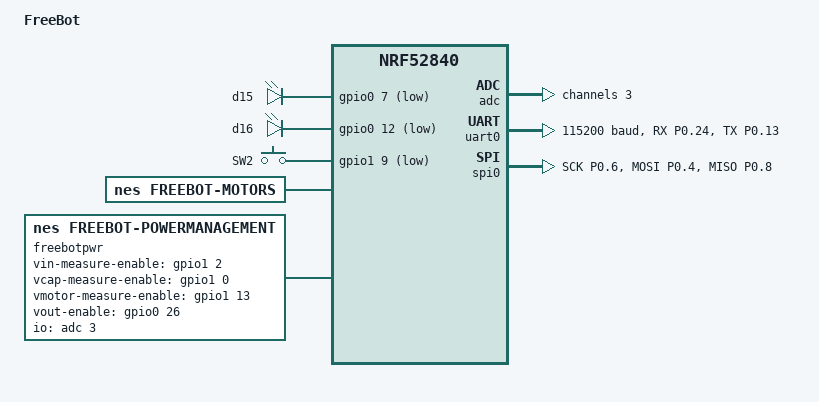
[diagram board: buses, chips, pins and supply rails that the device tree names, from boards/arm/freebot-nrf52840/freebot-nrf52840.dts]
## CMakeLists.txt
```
#
# Copyright (c) 2018 Nordic Semiconductor
#
# SPDX-License-Identifier: LicenseRef-Nordic-5-Clause
#
cmake_minimum_required(VERSION 3.20.0)

find_package(Zephyr REQUIRED HINTS $ENV{ZEPHYR_BASE})
project(nus_peripheral)

include_directories(lib/freebot/inc)
include_directories(lib/cJSON/)

if(DEFINED FB_DUMMY_API)
    target_sources(app PRIVATE lib/freebot/src/fb_dummy.c)
else()
    target_sources(app PRIVATE lib/freebot/src/fb_motor.c lib/freebot/src/fb_io.c lib/freebot/src/fb_pwr.c)
endif()

target_sources(app PRIVATE lib/cJSON/cJSON.c)

# NORDIC SDK APP START
target_sources(app PRIVATE
  src/main.c
)

# Include UART ASYNC API adapter
target_sources_ifdef(CONFIG_BT_NUS_UART_ASYNC_ADAPTER app PRIVATE
  src/uart_async_adapter.c
)

# NORDIC SDK APP END

zephyr_library_include_directories(.)
```

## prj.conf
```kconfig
#
# Copyright (c) 2018 Nordic Semiconductor
#
# SPDX-License-Identifier: LicenseRef-Nordic-5-Clause
#

# Enable the UART driver
CONFIG_UART_ASYNC_API=y
CONFIG_NRFX_UARTE0=y
CONFIG_SERIAL=y

CONFIG_GPIO=y



# Enable ADC for voltage measurements
CONFIG_ADC=y

# Enable logging
CONFIG_LOG=y



CONFIG_CONSOLE=y 
CONFIG_CONSOLE_SUBSYS=y 
CONFIG_CONSOLE_HANDLER=y 
CONFIG_CONSOLE_GETCHAR=y 




CONFIG_HEAP_MEM_POOL_SIZE=2048

CONFIG_BT=y
CONFIG_BT_PERIPHERAL=y
CONFIG_BT_DEVICE_NAME="Groep 5 Freebot"
CONFIG_BT_MAX_CONN=1
CONFIG_BT_MAX_PAIRED=1

# Enable the NUS service
CONFIG_BT_NUS=y
CONFIG_BT_NUS_SECURITY_ENABLED=y

# Enable bonding
CONFIG_BT_SETTINGS=y
CONFIG_FLASH=y
CONFIG_FLASH_PAGE_LAYOUT=y
CONFIG_FLASH_MAP=y
CONFIG_NVS=y
CONFIG_SETTINGS=y

# Enable DK LED and Buttons library
CONFIG_DK_LIBRARY=y

# This example requires more stack
CONFIG_MAIN_STACK_SIZE=1192
CONFIG_SYSTEM_WORKQUEUE_STACK_SIZE=2048


# Config logger
CONFIG_LOG=y
CONFIG_USE_SEGGER_RTT=y
CONFIG_LOG_BACKEND_RTT=y
CONFIG_LOG_BACKEND_UART=n
CONFIG_LOG_PRINTK=n

CONFIG_ASSERT=y
```

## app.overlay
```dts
/*
 * Copyright (c) 2022 Nordic Semiconductor ASA
 *
 * SPDX-License-Identifier: LicenseRef-Nordic-5-Clause
 */

/ {
	chosen {
		nordic,nus-uart = &uart0;
	};
};

/ {
    chosen {
        zephyr,entropy = &cryptocell;
    };
};

&cryptocell {
    status = "okay";
};
```

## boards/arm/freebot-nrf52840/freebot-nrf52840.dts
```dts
// Copyright (c) 2024 Nordic Semiconductor ASA
// SPDX-License-Identifier: Apache-2.0

/dts-v1/;
#include <nordic/nrf52840_qiaa.dtsi>

/ {
    model = "FreeBot";
    compatible = "nes,freebot-nrf52840";

    chosen {
        zephyr,console = &uart0;
        zephyr,shell-uart = &uart0;
        zephyr,sram = &sram0;
        zephyr,flash = &flash0;
        zephyr,code-partition = &slot0_partition;
        /delete-property/ zephyr,entropy;
    };

    leds {
        compatible = "gpio-leds";
        d15: led_0 {
            gpios = <&gpio0 7 GPIO_ACTIVE_LOW>;
        };
        d16: led_1 {
            gpios = <&gpio0 12 GPIO_ACTIVE_LOW>;
        };
    };

    buttons {
        compatible = "gpio-keys";
        sw2: button_0 {
            gpios = <&gpio1 9 GPIO_ACTIVE_LOW>;
            label = "SW2";
            zephyr,code = <INPUT_KEY_0>;
        };
    };

    motors {
        compatible = "nes,freebot-motors";
        m1: motor1 {
            in-a-gpios = <&gpio0 9 GPIO_ACTIVE_HIGH>;
            in-b-gpios = <&gpio0 10 GPIO_ACTIVE_HIGH>;
            hall-c1-gpios = <&gpio1 4 0>;
            hall-c2-gpios = <&gpio1 6 0>;
        };
        m2: motor2 {
            in-a-gpios = <&gpio0 15 GPIO_ACTIVE_HIGH>;
            in-b-gpios = <&gpio0 17 GPIO_ACTIVE_HIGH>;
            hall-c1-gpios = <&gpio0 20 0>;
            hall-c2-gpios = <&gpio0 22 0>;
        };
        m3: motor3 {
            in-a-gpios = <&gpio1 10 GPIO_ACTIVE_HIGH>;
            in-b-gpios = <&gpio1 11 GPIO_ACTIVE_HIGH>;
            hall-c1-gpios = <&gpio0 2 0>;
            hall-c2-gpios = <&gpio0 3 0>;
        };
        m4: motor4 {
            in-a-gpios = <&gpio0 30 GPIO_ACTIVE_HIGH>;
            in-b-gpios = <&gpio0 31 GPIO_ACTIVE_HIGH>;
            hall-c1-gpios = <&gpio0 28 0>;
            hall-c2-gpios = <&gpio0 29 0>;
        };
    };

    freebotpwr {
        compatible = "nes,freebot-powermanagement";
        io-channels = <&adc 3>;
        vin-measure-enable-gpios = <&gpio1 2 GPIO_ACTIVE_HIGH>;
        vcap-measure-enable-gpios = <&gpio1 0 GPIO_ACTIVE_HIGH>;
        vmotor-measure-enable-gpios = <&gpio1 13 GPIO_ACTIVE_HIGH>;
        vout-enable-gpios = <&gpio0 26 GPIO_ACTIVE_HIGH>;
    };
};

&uicr {
    nfct-pins-as-gpios;
};

&gpiote {
    status = "okay";
};

&gpio0 {
    status = "okay";
};

&gpio1 {
    status = "okay";
};

&adc {
    #address-cells = <1>;
    #size-cells = <0>;
    status = "okay";

    channel@3 {
        reg = <3>;
        zephyr,gain = "ADC_GAIN_4"; /* nRF52840 DOCS: ΔVmeasure = Vref / GAIN */
        zephyr,reference = "ADC_REF_INTERNAL"; /* nRF52840 DOCS: Internal Vref = 600mV */
        zephyr,acquisition-time = <ADC_ACQ_TIME(ADC_ACQ_TIME_MICROSECONDS, 40)>; /* nRF52840 DOCS: input R > 400k => 40ms */
        zephyr,input-positive = <NRF_SAADC_AIN3>; /* P0.05 */
        zephyr,resolution = <14>;
    };

};

&uart0 {
    compatible = "nordic,nrf-uarte";
    status = "okay";
    current-speed = <115200>;
    pinctrl-0 = <&uart0_default>;
    pinctrl-1 = <&uart0_sleep>;
    pinctrl-names = "default", "sleep";
};

&spi0 {
    compatible = "nordic,nrf-spi";
    status = "okay";
    pinctrl-0 = <&spi0_default>;
    pinctrl-1 = <&spi0_sleep>;
    pinctrl-names = "default", "sleep";
};

&flash0 {
    partitions {
        compatible = "fixed-partitions";
        #address-cells = <1>;
        #size-cells = <1>;

        boot_partition: partition@0 {
            label = "mcuboot";
            reg = <0x0 0xc000>;
        };
        slot0_partition: partition@c000 {
            label = "image-0";
            reg = <0xc000 0x72000>;
        };
        slot1_partition: partition@7e000 {
            label = "image-1";
            reg = <0x7e000 0x72000>;
        };
        scratch_partition: partition@f0000 {
            label = "image-scratch";
            reg = <0xf0000 0xa000>;
        };
        storage_partition: partition@fa000 {
            label = "storage";
            reg = <0xfa000 0x6000>;
        };
    };
};

&pinctrl {
    uart0_default: uart0_default {
        group1 {
            psels = <NRF_PSEL(UART_RX, 0, 24)>;
            bias-pull-up;
        };
        group2 {
            psels = <NRF_PSEL(UART_TX, 0, 13)>;
        };
    };
    uart0_sleep: uart0_sleep {
        group1 {
            psels = <NRF_PSEL(UART_RX, 0, 24)>,
                    <NRF_PSEL(UART_TX, 0, 13)>;
            low-power-enable;
        };
    };

    spi0_default: spi0_default {
        group1 {
            psels = <NRF_PSEL(SPIM_SCK, 0, 6)>,
                    <NRF_PSEL(SPIM_MOSI, 0, 4)>,
                    <NRF_PSEL(SPIM_MISO, 0, 8)>;
        };
    };
    spi0_sleep: spi0_sleep {
        group1 {
            psels = <NRF_PSEL(SPIM_SCK, 0, 6)>,
                    <NRF_PSEL(SPIM_MOSI, 0, 4)>,
                    <NRF_PSEL(SPIM_MISO, 0, 8)>;
            low-power-enable;
        };
    };
};

&nfct {
	status = "disabled";
};

&power {
	status = "disabled";
};

&temp {
	status = "disabled";
};

&cryptocell {
	status = "disabled";
};

&ecb {
	status = "disabled";
};

&ccm {
	status = "disabled";
};

&acl {
	status = "disabled";
};

&nvic {
	status = "disabled";
};
```

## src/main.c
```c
/*
 * Copyright (c) 2018 Nordic Semiconductor ASA
 *
 * SPDX-License-Identifier: LicenseRef-Nordic-5-Clause
 */

/** @file
 *  @brief Nordic UART Bridge Service (NUS) sample
 */
#include <zephyr/types.h>
#include <zephyr/kernel.h>
#include <zephyr/drivers/uart.h>
#include <zephyr/usb/usb_device.h>

#include <zephyr/device.h>
#include <zephyr/devicetree.h>
#include <soc.h>

#include <zephyr/bluetooth/bluetooth.h>
#include <zephyr/bluetooth/uuid.h>
#include <zephyr/bluetooth/gatt.h>
#include <zephyr/bluetooth/hci.h>

#include <bluetooth/services/nus.h>

#include <dk_buttons_and_leds.h>

#include <zephyr/settings/settings.h>

#include <stdio.h>
#include <stdlib.h>
#include <string.h>
#include "cJSON.h"

#include <zephyr/logging/log.h>

#include "freebot.h"

#define LOG_MODULE_NAME peripheral_uart
LOG_MODULE_REGISTER(LOG_MODULE_NAME);

#define STACKSIZE CONFIG_BT_NUS_THREAD_STACK_SIZE
#define PRIORITY 7

#define DEVICE_NAME CONFIG_BT_DEVICE_NAME
#define DEVICE_NAME_LEN	(sizeof(DEVICE_NAME) - 1)

#define RUN_STATUS_LED DK_LED1
#define RUN_LED_BLINK_INTERVAL 1000

#define CON_STATUS_LED DK_LED2

#define KEY_PASSKEY_ACCEPT DK_BTN1_MSK
#define KEY_PASSKEY_REJECT DK_BTN2_MSK

#define MSG_LENGTH_ACTION 2 //AA-BB with AA the group's number & BB being the action
#define MSG_LENGTH_SENSING 6 //AA-AA-BB-BB-CC-CC with AA the group's number, BB being the voltage in mV & CC the RPM

static K_SEM_DEFINE(ble_init_ok, 0, 1);

static fb_motor_angle_t motor_angles;
static fb_motor_speed_t motor_speeds;


static K_SEM_DEFINE(freebot_init_ok, 0, 1);

static struct bt_conn *current_conn;
static struct bt_conn *auth_conn;

static const struct bt_data ad[] = {
	BT_DATA_BYTES(BT_DATA_FLAGS, (BT_LE_AD_GENERAL | BT_LE_AD_NO_BREDR)),
	BT_DATA(BT_DATA_NAME_COMPLETE, DEVICE_NAME, DEVICE_NAME_LEN),
};

static const struct bt_data sd[] = {
	BT_DATA_BYTES(BT_DATA_UUID128_ALL, BT_UUID_NUS_VAL),
};

static void connected(struct bt_conn *conn, uint8_t err)
{
	char addr[BT_ADDR_LE_STR_LEN];

	if (err) {
		printk("Connection failed (err %u)", err);
		return;
	}

	bt_addr_le_to_str(bt_conn_get_dst(conn), addr, sizeof(addr));
	printk("Connected %s", addr);

	bt_addr_le_t central_addr;
	// addr other board: F6:5E:C0:22:C7:AC
	bt_addr_le_from_str("E9:7C:B1:DD:09:C0","random", &central_addr);
	if (!bt_addr_le_eq(bt_conn_get_dst(conn), &central_addr)) {
		printk("wrong device tried to connect: %s", addr);
		bt_conn_disconnect(conn, BT_ATT_ERR_AUTHENTICATION);
		return;
	}

	printk("Connected %s", addr);

	current_conn = bt_conn_ref(conn);

	dk_set_led_on(CON_STATUS_LED);
}

static void disconnected(struct bt_conn *conn, uint8_t reason)
{
	char addr[BT_ADDR_LE_STR_LEN];

	bt_addr_le_to_str(bt_conn_get_dst(conn), addr, sizeof(addr));

	printk("Disconnected: %s (reason %u)", addr, reason);

	if (auth_conn) {
		bt_conn_unref(auth_conn);
		auth_conn = NULL;
	}

	if (current_conn) {
		bt_conn_unref(current_conn);
		current_conn = NULL;
		dk_set_led_off(CON_STATUS_LED);
	}
}

#ifdef CONFIG_BT_NUS_SECURITY_ENABLED
static void security_changed(struct bt_conn *conn, bt_security_t level,
			     enum bt_security_err err)
{
	char addr[BT_ADDR_LE_STR_LEN];

	bt_addr_le_to_str(bt_conn_get_dst(conn), addr, sizeof(addr));

	if (!err) {
		printk("Security changed: %s level %u", addr, level);
	} else {
		LOG_WRN("Security failed: %s level %u err %d", addr,
			level, err);
	}
}
#endif

BT_CONN_CB_DEFINE(conn_callbacks) = {
	.connected    = connected,
	.disconnected = disconnected,
#ifdef CONFIG_BT_NUS_SECURITY_ENABLED
	.security_changed = security_changed,
#endif
};

#if defined(CONFIG_BT_NUS_SECURITY_ENABLED)
static void auth_passkey_display(struct bt_conn *conn, unsigned int passkey)
{
	char addr[BT_ADDR_LE_STR_LEN];

	bt_addr_le_to_str(bt_conn_get_dst(conn), addr, sizeof(addr));

	printk("Passkey for %s: %06u", addr, passkey);
}

static void auth_passkey_confirm(struct bt_conn *conn, unsigned int passkey)
{
	char addr[BT_ADDR_LE_STR_LEN];

	auth_conn = bt_conn_ref(conn);

	bt_addr_le_to_str(bt_conn_get_dst(conn), addr, sizeof(addr));

	printk("Passkey for %s: %06u", addr, passkey);
	printk("Press Button 1 to confirm, Button 2 to reject.");
}


static void auth_cancel(struct bt_conn *conn)
{
	char addr[BT_ADDR_LE_STR_LEN];

	bt_addr_le_to_str(bt_conn_get_dst(conn), addr, sizeof(addr));

	printk("Pairing cancelled: %s", addr);
}


static void pairing_complete(struct bt_conn *conn, bool bonded)
{
	char addr[BT_ADDR_LE_STR_LEN];

	bt_addr_le_to_str(bt_conn_get_dst(conn), addr, sizeof(addr));

	printk("Pairing completed: %s, bonded: %d", addr, bonded);
}


static void pairing_failed(struct bt_conn *conn, enum bt_security_err reason)
{
	char addr[BT_ADDR_LE_STR_LEN];

	bt_addr_le_to_str(bt_conn_get_dst(conn), addr, sizeof(addr));

	printk("Pairing failed conn: %s, reason %d", addr, reason);
}


static struct bt_conn_auth_cb conn_auth_callbacks = {
	.passkey_display = auth_passkey_display,
	.passkey_confirm = auth_passkey_confirm,
	.cancel = auth_cancel,
};

static struct bt_conn_auth_info_cb conn_auth_info_callbacks = {
	.pairing_complete = pairing_complete,
	.pairing_failed = pairing_failed
};
#else
static struct bt_conn_auth_cb conn_auth_callbacks;
static struct bt_conn_auth_info_cb conn_auth_info_callbacks;
#endif

static void bt_receive_cb(struct bt_conn *conn, const uint8_t *const data,
			  uint16_t len)
{
	int err;
	char addr[BT_ADDR_LE_STR_LEN] = {0};

	bt_addr_le_to_str(bt_conn_get_dst(conn), addr, ARRAY_SIZE(addr));

	printk("Received data from: %s", addr);
    if (len >= MSG_LENGTH_ACTION) {
        uint8_t groupnr = data[0];
		if (groupnr == 5) {
        	uint8_t action  = data[1];
       		printk("MESSAGE: Group: %d, Action: %d\n", groupnr, action);
        	app_move_cb(action);
		}
    }
}

static struct bt_nus_cb nus_cb = {
	.received = bt_receive_cb,
};

void error(void)
{
	dk_set_leds_state(DK_ALL_LEDS_MSK, DK_NO_LEDS_MSK);

	while (true) {
		/* Spin for ever */
		k_sleep(K_MSEC(1000));
	}
}

#ifdef CONFIG_BT_NUS_SECURITY_ENABLED
static void num_comp_reply(bool accept)
{
	if (accept) {
		bt_conn_auth_passkey_confirm(auth_conn);
		printk("Numeric Match, conn %p", (void *)auth_conn);
	} else {
		bt_conn_auth_cancel(auth_conn);
		printk("Numeric Reject, conn %p", (void *)auth_conn);
	}

	bt_conn_unref(auth_conn);
	auth_conn = NULL;
}

void button_changed(uint32_t button_state, uint32_t has_changed)
{
	uint32_t buttons = button_state & has_changed;

	if (auth_conn) {
		if (buttons & KEY_PASSKEY_ACCEPT) {
			num_comp_reply(true);
		}

		if (buttons & KEY_PASSKEY_REJECT) {
			num_comp_reply(false);
		}
	}
}
#endif /* CONFIG_BT_NUS_SECURITY_ENABLED */

static void configure_gpio(void)
{
	int err;

#ifdef CONFIG_BT_NUS_SECURITY_ENABLED
	err = dk_buttons_init(button_changed);
	if (err) {
		printk("Cannot init buttons (err: %d)", err);
	}
#endif /* CONFIG_BT_NUS_SECURITY_ENABLED */

	err = dk_leds_init();
	if (err) {
		printk("Cannot init LEDs (err: %d)", err);
	}
}

static int read_rpm() {
    //avg of all weels in one time instance
    fb_get_motor_speed(&motor_speeds);

	int rpm = abs(motor_speeds.front_left) 
                + abs(motor_speeds.front_right) 
                    + abs(motor_speeds.back_right)
                        + abs(motor_speeds.back_left);
	return rpm/4;
}


// function to set the next move of the freebot
void app_move_cb(uint8_t action) {
    switch(action){
        case 0:  fb_straight_forw(); 	break;
        case 1:  fb_straight_back(); 	break;
        case 2:  fb_side_right();    	break;
        case 3:  fb_side_left();     	break;
        case 4:  fb_side_d45();  		break;
        case 5:  fb_side_d135();		break;
        case 6:  fb_side_d225();		break;
        case 7:  fb_side_d315();		break;
        case 8:  fb_rotate_cw();		break;
        case 9:  fb_rotate_ccw();		break;
        case 10: fb_stop();				break;
        default: printk("Unknown action: %s\n", action); break;
    }
}

// threaded function for RPM notification
void notify_rpm_voltage_thread(void)
{
	// only do if freebot is set up ok
	k_sem_take(&freebot_init_ok, K_FOREVER);
	printk("Polling initialized");
	for (;;) {

		uint16_t rpm = 0;
		uint16_t voltage = 0;
        uint16_t groupnr = 05;

		for (int i = 0; i < 5; i++)
		{
			k_sleep(K_MSEC(200));
			rpm += read_rpm();
			voltage += (fb_v_measure() * 40); // In mV
		}

		rpm /= 5;
		voltage /= 5;

		// 2 bytes groupnr, 2 bytes voltage, 2 bytes rpm
        uint8_t buf[MSG_LENGTH_SENSING];
        memcpy(&buf[0],&groupnr, sizeof(uint16_t));
        memcpy(&buf[2],&voltage, sizeof(uint16_t));
        memcpy(&buf[4],&rpm, sizeof(uint16_t));
        
		printk("SEND: group %d, volt: %d, rpm: %d\n", groupnr, voltage, rpm);
        int err = bt_nus_send(NULL, &buf, MSG_LENGTH_SENSING);
        if (err) {
            printk("message could not be sent over BLE\n");
        }
	}
}

int main(void)
{
	int blink_status = 0;
	int err = 0;

	configure_gpio();

	printk("Starting Robot");
    fb_init();
    err = fb_v_measure_select(V_CAP);
	if (err) {
		error();
	}
	k_sem_give(&freebot_init_ok);


	if (IS_ENABLED(CONFIG_BT_NUS_SECURITY_ENABLED)) {
		err = bt_conn_auth_cb_register(&conn_auth_callbacks);
		if (err) {
			printk("Failed to register authorization callbacks.\n");
			return 0;
		}

		err = bt_conn_auth_info_cb_register(&conn_auth_info_callbacks);
		if (err) {
			printk("Failed to register authorization info callbacks.\n");
			return 0;
		}
	}

	err = bt_enable(NULL);
	if (err) {
		error();
	}
	printk("Bluetooth initialized");

	k_sem_give(&ble_init_ok);

	if (IS_ENABLED(CONFIG_SETTINGS)) {
		settings_load();
	}

	err = bt_nus_init(&nus_cb);
	if (err) {
		printk("Failed to initialize UART service (err: %d)", err);
		return 0;
	}

	err = bt_le_adv_start(BT_LE_ADV_CONN, ad, ARRAY_SIZE(ad), sd,
			      ARRAY_SIZE(sd));
	if (err) {
		printk("Advertising failed to start (err %d)", err);
		return 0;
	}

	for (;;) {
		fb_set_led(D15);
        fb_clear_led(D16);
        for (;;)
        {
            k_sleep(K_MSEC(100));
            fb_toggle_led(D15);
            fb_toggle_led(D16);

            if (fb_read_btn())
            {
                printk("Button pressed");
                break;
            }
        }
     	fb_clear_led(D15);
		fb_clear_led(D16);


		dk_set_led(RUN_STATUS_LED, (++blink_status) % 2);
		k_sleep(K_MSEC(RUN_LED_BLINK_INTERVAL));
	}
}

// set up threads to notify central every 1 second
K_THREAD_DEFINE(notify_rpm_voltage_thread_id, STACKSIZE, notify_rpm_voltage_thread, NULL, NULL,
		NULL, PRIORITY, 0, 0);
```
